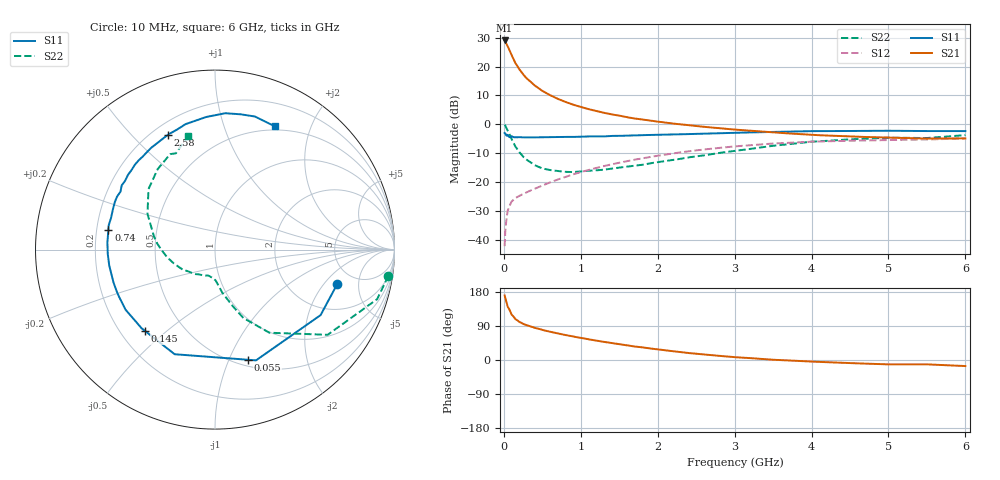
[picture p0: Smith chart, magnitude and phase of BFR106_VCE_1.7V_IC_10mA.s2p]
! Infineon Technologies  Discrete & RF Semiconductors
! BFR106
! VCE =  1.7 V,  IC =  10 mA
! Common Emitter S-Parameters:  Nov 2015
# GHz  S  MA  R  50
!  f  S11  S21  S12  S22
! GHz  MAG  ANG  MAG  ANG  MAG  ANG  MAG  ANG
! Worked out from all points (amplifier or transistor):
!   210 points, 10 MHz to 6 GHz, reference 50 ohm
!   highest |S21| = 29.0 dB at 10 MHz (marker M1)
!   |S21| within 3 dB of that: start of sweep to 66.53 MHz
!   unconditionally stable (mu >= 1): 473.9 MHz to 2.468 GHz; 4.526 GHz to end of sweep
!   at 185 MHz: K = 0.58, MSG = 22.4 dB, |S12| = -25.0 dB
!   at 1.52 GHz: K = 1.10, MAG = 6.2 dB, |S12| = -13.2 dB
!   at 6 GHz: K = 1.02, MAG = -0.9 dB, |S12| = -4.9 dB
!   S11 on the Smith chart (normalised r, x): 10 MHz: 3.57, -2.77; 55 MHz: 0.56, -1.18; 145 MHz: 0.30, -0.42; 740 MHz: 0.25, +0.09; 2.58 GHz: 0.26, +0.64; 6 GHz: 0.45, +1.50
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0.01  0.7072 -15.9  28.24 170.3  0.0078 84.3  0.9771 -8.6
0.02  0.6924 -31.8  27.27 162.2  0.0147 76.1  0.9448 -17.0
0.05  0.6581 -69.7  22.48 140.6  0.032 60.1  0.7869 -37.1
0.055  0.6405 -73.4  21.71 139.1  0.0333 58.3  0.7606 -38.5
0.1  0.6248 -111.1  15.71 119.9  0.0461 47.0  0.5536 -56.8
0.145  0.5979 -130.8  11.87 109.4  0.0521 43.3  0.4266 -66.0
0.15  0.5994 -133.0  11.47 107.8  0.0528 42.9  0.4134 -67.4
0.2  0.6003 -146.1  9.008 100.7  0.0577 42.9  0.3315 -72.5
0.24  0.5957 -153.5  7.64 96.5  0.0614 43.9  0.2858 -76.0
0.3  0.5945 -161.9  6.167 91.3  0.067 46.2  0.2422 -80.5
0.4  0.5959 -171.4  4.705 84.9  0.0768 49.3  0.1967 -85.1
0.5  0.598 -177.7  3.791 79.4  0.0873 52.3  0.1726 -88.7
0.6  0.6008 176.2  3.198 74.5  0.099 54.6  0.162 -92.8
0.74  0.6043 169.4  2.636 68.4  0.1156 56.3  0.1536 -99.0
1.02  0.6119 158.2  1.96 57.6  0.1514 57.8  0.1539 -109.9
1.4  0.6312 145.4  1.486 44.9  0.2029 56.5  0.1717 -126.8
2.02  0.6571 127.5  1.105 27.5  0.2888 50.1  0.2234 -154.1
2.58  0.6906 112.5  0.912 15.0  0.3644 42.0  0.2877 -176.7
3.1  0.7209 101.3  0.793 6.3  0.4243 33.4  0.3605 164.3
4.1  0.7623 84.4  0.648 -5.0  0.5038 17.0  0.5089 135.1
5.1  0.7717 72.2  0.584 -11.5  0.537 3.5  0.5859 114.6
6  0.7638 64.1  0.571 -16.0  0.5708 -6.1  0.6512 103.2
